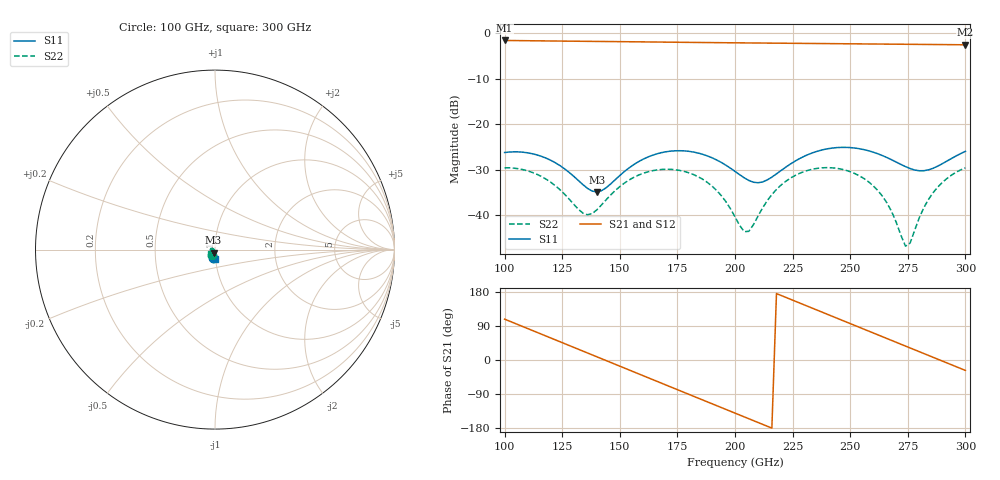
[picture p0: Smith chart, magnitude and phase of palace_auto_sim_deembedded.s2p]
! Created with skrf 1.11.0 (http://scikit-rf.org).
# GHz S DB R 50.0
!freq dBS11 angS11 dBS21 angS21 dBS12 angS12 dBS22 angS22
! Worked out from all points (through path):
!   101 points, 100 GHz to 300 GHz, reference 50 ohm
!   highest |S21| = -1.53 dB at 100 GHz (marker M1); lowest = -2.5 dB at 300 GHz (marker M2)
!   group delay of S21, straight-line fit = 6.88 ps
!   lowest |S11| = -34.8 dB at 140 GHz (marker M3), VSWR 1.04, Z = 49.2 - j1.6 ohm
!   |S11| at or under -10 dB: start of sweep to end of sweep
!   |S22| runs from -46.7 to -29.5 dB; largest |S21 - S12| = 9.6e-14
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100  -26.17 -104.4  -1.53 107.8  -1.53 107.8  -29.53 -123.6
116  -27.01 -132.9  -1.62 68.1  -1.62 68.1  -31.44 -156.0
134  -33.23 -138.6  -1.71 23.5  -1.71 23.5  -39.49 -149.2
140  -34.83 -116.6  -1.74 8.6  -1.74 8.6  -38.78 -119.6
154  -29.55 -89.5  -1.81 -26.2  -1.81 -26.2  -32.21 -116.2
168  -26.20 -105.0  -1.89 -60.9  -1.89 -60.9  -29.89 -142.5
178  -25.81 -120.1  -1.94 -85.7  -1.94 -85.7  -30.33 -163.6
186  -26.56 -131.2  -1.98 -105.5  -1.98 -105.5  -32.05 -179.5
194  -28.33 -138.5  -2.02 -125.3  -2.02 -125.3  -35.61 169.2
200  -30.31 -138.0  -2.05 -140.2  -2.05 -140.2  -40.30 173.7
206  -32.30 -127.6  -2.08 -155.0  -2.08 -155.0  -43.49 -139.9
218  -30.86 -93.8  -2.13 175.3  -2.13 175.3  -34.28 -112.8
234  -26.17 -96.7  -2.19 135.7  -2.19 135.7  -29.79 -143.1
244  -25.09 -108.5  -2.24 110.9  -2.24 110.9  -29.63 -165.4
254  -25.33 -120.4  -2.28 86.2  -2.28 86.2  -31.29 172.8
262  -26.44 -127.3  -2.32 66.4  -2.32 66.4  -34.52 157.8
268  -27.76 -128.7  -2.34 51.6  -2.34 51.6  -39.17 153.5
274  -29.26 -124.2  -2.37 36.8  -2.37 36.8  -46.75 -167.7
276  -29.69 -121.0  -2.38 31.8  -2.38 31.8  -46.08 -135.0
282  -30.16 -107.6  -2.40 17.0  -2.40 17.0  -38.25 -106.7
286  -29.62 -98.8  -2.42 7.1  -2.42 7.1  -34.98 -109.7
300  -25.90 -90.7  -2.48 -27.5  -2.48 -27.5  -29.53 -137.7
